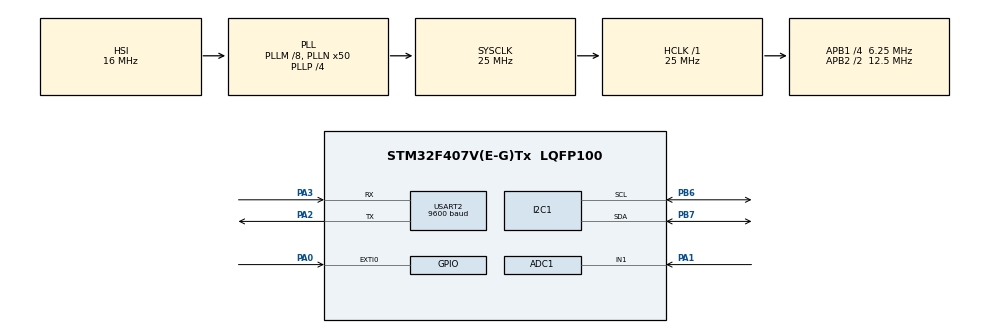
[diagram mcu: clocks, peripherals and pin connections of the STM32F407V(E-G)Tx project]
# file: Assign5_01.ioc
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ADC1.Channel-1\#ChannelRegularConversion=ADC_CHANNEL_1
ADC1.NbrOfConversionFlag=1
ADC1.Rank-1\#ChannelRegularConversion=1
ADC1.SamplingTime-1\#ChannelRegularConversion=ADC_SAMPLETIME_3CYCLES
ADC1.master=1
Mcu.Family=STM32F4
Mcu.Name=STM32F407V(E-G)Tx
Mcu.Package=LQFP100
NVIC.ADC_IRQn=true\:0\:0\:false\:false\:true\:true\:true\:true
NVIC.EXTI0_IRQn=true\:0\:0\:false\:false\:true\:true\:true\:true
NVIC.PriorityGroup=NVIC_PRIORITYGROUP_0
PA0-WKUP.Signal=GPXTI0
PA1.Signal=ADCx_IN1
PA2.Mode=Asynchronous
PA2.Signal=USART2_TX
PA3.Mode=Asynchronous
PA3.Signal=USART2_RX
PB6.Mode=I2C
PB6.Signal=I2C1_SCL
PB7.Mode=I2C
PB7.Signal=I2C1_SDA
ProjectManager.HeapSize=0x200
ProjectManager.StackSize=0x400
ProjectManager.TargetToolchain=STM32CubeIDE
RCC.48MHZClocksFreq_Value=14285714.285714285
RCC.AHBFreq_Value=25000000
RCC.APB1CLKDivider=RCC_HCLK_DIV4
RCC.APB1Freq_Value=6250000
RCC.APB1TimFreq_Value=12500000
RCC.APB2CLKDivider=RCC_HCLK_DIV2
RCC.APB2Freq_Value=12500000
RCC.APB2TimFreq_Value=25000000
RCC.CortexFreq_Value=25000000
RCC.HCLKFreq_Value=25000000
RCC.HSE_VALUE=8000000
RCC.HSI_VALUE=16000000
RCC.LSE_VALUE=32768
RCC.PLLM=8
RCC.PLLN=50
RCC.PLLP=RCC_PLLP_DIV4
RCC.PLLQ=7
RCC.SYSCLKFreq_VALUE=25000000
RCC.SYSCLKSource=RCC_SYSCLKSOURCE_PLLCLK
RCC.VCOOutputFreq_Value=100000000
SH.ADCx_IN1.0=ADC1_IN1,IN1
USART2.BaudRate=9600
USART2.VirtualMode=VM_ASYNC
board=STM32F407G-DISC1

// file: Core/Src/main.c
/* USER CODE BEGIN Header */
/**
  ******************************************************************************
  * @file           : main.c
  * @brief          : Main program body
  ******************************************************************************
  * @attention
  *
  * Copyright (c) 2026 STMicroelectronics.
  * All rights reserved.
  *
  * This software is licensed under terms that can be found in the LICENSE file
  * in the root directory of this software component.
  * If no LICENSE file comes with this software, it is provided AS-IS.
  *
  ******************************************************************************
  */
/* USER CODE END Header */
#include "main.h"

/* USER CODE BEGIN Includes */
#include <string.h>
#include <stdio.h>
#include "lcd.h"
/* USER CODE END Includes */

ADC_HandleTypeDef hadc1;

I2C_HandleTypeDef hi2c1;

UART_HandleTypeDef huart2;

volatile uint8_t switch_press =0;
/* USER CODE BEGIN PV */
void HAL_GPIO_EXTI_Callback(uint16_t GPIO_Pin){
	switch_press = 1;
}
/* USER CODE END PV */

void SystemClock_Config(void);
static void MX_GPIO_Init(void);
static void MX_ADC1_Init(void);
static void MX_I2C1_Init(void);
static void MX_USART2_UART_Init(void);

int main(void)
{

  /* MCU Configuration--------------------------------------------------------*/

  /* Reset of all peripherals, Initializes the Flash interface and the Systick. */
  HAL_Init();

  /* Configure the system clock */
  SystemClock_Config();

  /* Initialize all configured peripherals */
  MX_GPIO_Init();
  MX_ADC1_Init();
  MX_I2C1_Init();
  MX_USART2_UART_Init();
  /* USER CODE BEGIN 2 */
  lcd_init();
  HAL_UART_Transmit(&huart2, (uint8_t*)"STM32 ADC Demo!\r\n", 17, HAL_MAX_DELAY);

   lcd_puts(LCD_LINE1, "Finally...");

  /* USER CODE END 2 */

  /* Infinite loop */
  /* USER CODE BEGIN WHILE */
  while (1)
  {
	  if(switch_press == 1)
	  {
	  char str[32];
	  uint32_t result;
	  HAL_ADC_Start(&hadc1);
	  HAL_ADC_PollForConversion(&hadc1, HAL_MAX_DELAY);
	  result = HAL_ADC_GetValue(&hadc1);
	  sprintf(str, "ADC = %lu\r\n", result);
	  HAL_UART_Transmit(&huart2, (uint8_t*)str, strlen(str), HAL_MAX_DELAY);
	  lcd_puts(LCD_LINE2, str);
	  HAL_ADC_Stop(&hadc1);
	  HAL_Delay(2000);

	  }
    /* USER CODE END WHILE */

  }
}

void SystemClock_Config(void)
{
  RCC_OscInitTypeDef RCC_OscInitStruct = {0};
  RCC_ClkInitTypeDef RCC_ClkInitStruct = {0};

  /** Configure the main internal regulator output voltage
  */
  __HAL_RCC_PWR_CLK_ENABLE();
  __HAL_PWR_VOLTAGESCALING_CONFIG(PWR_REGULATOR_VOLTAGE_SCALE1);

  /** Initializes the RCC Oscillators according to the specified parameters
  * in the RCC_OscInitTypeDef structure.
  */
  RCC_OscInitStruct.OscillatorType = RCC_OSCILLATORTYPE_HSI;
  RCC_OscInitStruct.HSIState = RCC_HSI_ON;
  RCC_OscInitStruct.HSICalibrationValue = RCC_HSICALIBRATION_DEFAULT;
  RCC_OscInitStruct.PLL.PLLState = RCC_PLL_ON;
  RCC_OscInitStruct.PLL.PLLSource = RCC_PLLSOURCE_HSI;
  RCC_OscInitStruct.PLL.PLLM = 8;
  RCC_OscInitStruct.PLL.PLLN = 50;
  RCC_OscInitStruct.PLL.PLLP = RCC_PLLP_DIV4;
  RCC_OscInitStruct.PLL.PLLQ = 7;
  if (HAL_RCC_OscConfig(&RCC_OscInitStruct) != HAL_OK)
  {
    Error_Handler();
  }

  /** Initializes the CPU, AHB and APB buses clocks
  */
  RCC_ClkInitStruct.ClockType = RCC_CLOCKTYPE_HCLK|RCC_CLOCKTYPE_SYSCLK
                              |RCC_CLOCKTYPE_PCLK1|RCC_CLOCKTYPE_PCLK2;
  RCC_ClkInitStruct.SYSCLKSource = RCC_SYSCLKSOURCE_PLLCLK;
  RCC_ClkInitStruct.AHBCLKDivider = RCC_SYSCLK_DIV1;
  RCC_ClkInitStruct.APB1CLKDivider = RCC_HCLK_DIV4;
  RCC_ClkInitStruct.APB2CLKDivider = RCC_HCLK_DIV2;

  if (HAL_RCC_ClockConfig(&RCC_ClkInitStruct, FLASH_LATENCY_0) != HAL_OK)
  {
    Error_Handler();
  }
}

static void MX_ADC1_Init(void)
{

  ADC_ChannelConfTypeDef sConfig = {0};

  /** Configure the global features of the ADC (Clock, Resolution, Data Alignment and number of conversion)
  */
  hadc1.Instance = ADC1;
  hadc1.Init.ClockPrescaler = ADC_CLOCK_SYNC_PCLK_DIV2;
  hadc1.Init.Resolution = ADC_RESOLUTION_12B;
  hadc1.Init.ScanConvMode = DISABLE;
  hadc1.Init.ContinuousConvMode = DISABLE;
  hadc1.Init.DiscontinuousConvMode = DISABLE;
  hadc1.Init.ExternalTrigConvEdge = ADC_EXTERNALTRIGCONVEDGE_NONE;
  hadc1.Init.ExternalTrigConv = ADC_SOFTWARE_START;
  hadc1.Init.DataAlign = ADC_DATAALIGN_RIGHT;
  hadc1.Init.NbrOfConversion = 1;
  hadc1.Init.DMAContinuousRequests = DISABLE;
  hadc1.Init.EOCSelection = ADC_EOC_SINGLE_CONV;
  if (HAL_ADC_Init(&hadc1) != HAL_OK)
  {
    Error_Handler();
  }

  /** Configure for the selected ADC regular channel its corresponding rank in the sequencer and its sample time.
  */
  sConfig.Channel = ADC_CHANNEL_1;
  sConfig.Rank = 1;
  sConfig.SamplingTime = ADC_SAMPLETIME_3CYCLES;
  if (HAL_ADC_ConfigChannel(&hadc1, &sConfig) != HAL_OK)
  {
    Error_Handler();
  }

}

static void MX_I2C1_Init(void)
{

  hi2c1.Instance = I2C1;
  hi2c1.Init.ClockSpeed = 100000;
  hi2c1.Init.DutyCycle = I2C_DUTYCYCLE_2;
  hi2c1.Init.OwnAddress1 = 0;
  hi2c1.Init.AddressingMode = I2C_ADDRESSINGMODE_7BIT;
  hi2c1.Init.DualAddressMode = I2C_DUALADDRESS_DISABLE;
  hi2c1.Init.OwnAddress2 = 0;
  hi2c1.Init.GeneralCallMode = I2C_GENERALCALL_DISABLE;
  hi2c1.Init.NoStretchMode = I2C_NOSTRETCH_DISABLE;
  if (HAL_I2C_Init(&hi2c1) != HAL_OK)
  {
    Error_Handler();
  }

}

static void MX_USART2_UART_Init(void)
{

  huart2.Instance = USART2;
  huart2.Init.BaudRate = 9600;
  huart2.Init.WordLength = UART_WORDLENGTH_8B;
  huart2.Init.StopBits = UART_STOPBITS_1;
  huart2.Init.Parity = UART_PARITY_NONE;
  huart2.Init.Mode = UART_MODE_TX_RX;
  huart2.Init.HwFlowCtl = UART_HWCONTROL_NONE;
  huart2.Init.OverSampling = UART_OVERSAMPLING_16;
  if (HAL_UART_Init(&huart2) != HAL_OK)
  {
    Error_Handler();
  }

}

static void MX_GPIO_Init(void)
{
  GPIO_InitTypeDef GPIO_InitStruct = {0};

  /* GPIO Ports Clock Enable */
  __HAL_RCC_GPIOA_CLK_ENABLE();
  __HAL_RCC_GPIOB_CLK_ENABLE();

  /*Configure GPIO pin : PA0 */
  GPIO_InitStruct.Pin = GPIO_PIN_0;
  GPIO_InitStruct.Mode = GPIO_MODE_IT_RISING;
  GPIO_InitStruct.Pull = GPIO_NOPULL;
  HAL_GPIO_Init(GPIOA, &GPIO_InitStruct);

  /* EXTI interrupt init*/
  HAL_NVIC_SetPriority(EXTI0_IRQn, 0, 0);
  HAL_NVIC_EnableIRQ(EXTI0_IRQn);

}

void Error_Handler(void)
{
  __disable_irq();
  while (1)
  {
  }
}
